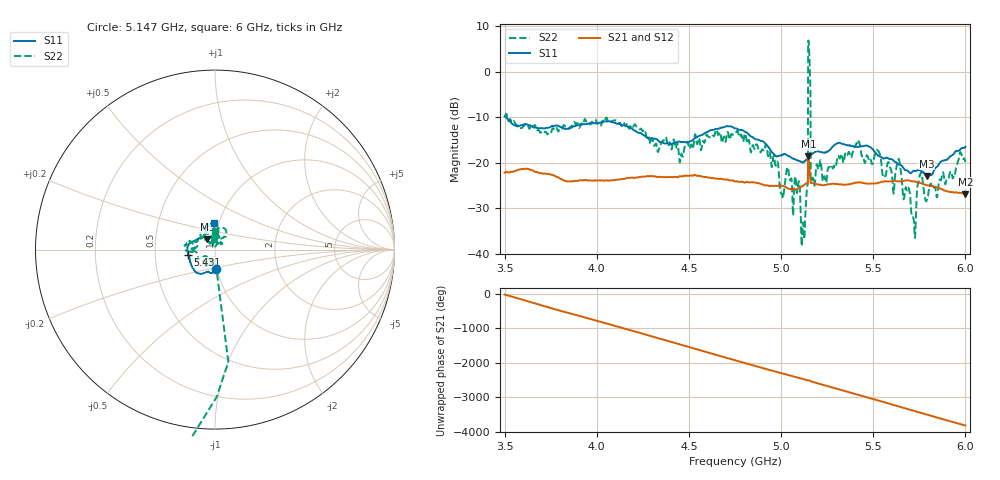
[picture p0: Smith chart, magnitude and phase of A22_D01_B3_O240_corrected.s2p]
! Created with skrf 1.9.0 (http://scikit-rf.org).
# Hz S RI R 50.0
!freq ReS11 ImS11 ReS21 ImS21 ReS12 ImS12 ReS22 ImS22
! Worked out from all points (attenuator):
!   1601 points, 3.5 GHz to 6 GHz, reference 50 ohm
!   highest |S21| = -18.58 dB at 5.148 GHz (marker M1); lowest = -26.9 dB at 6 GHz (marker M2)
!   lowest |S11| = -22.9 dB at 5.791 GHz (marker M3), VSWR 1.15, Z = 45.7 + j5.26 ohm
!   |S11| at or under -10 dB: 3.506 GHz to end of sweep
!   |S22| runs from -38.4 to 6.9 dB; largest |S21 - S12| = 0.0012
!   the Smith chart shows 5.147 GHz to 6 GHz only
!   S11 on the Smith chart (normalised r, x): 5.147 GHz: 0.99, -0.22; 5.431 GHz: 0.74, -0.04; 6 GHz: 0.94, +0.29
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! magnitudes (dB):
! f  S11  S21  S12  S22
! 3.5 GHz  -9.8  -22.2  -22.2  -9.9
! 3.917 GHz  -11.7  -23.9  -23.9  -11.4
! 4.334 GHz  -15.2  -23.2  -23.1  -17.5
! 4.75 GHz  -12.5  -24.1  -24.1  -13.4
! 4.927 GHz  -16.3  -25.0  -25.0  -17.9
! 5.005 GHz  -18.3  -25.1  -25.1  -26.9
! 5.088 GHz  -19.5  -25.8  -25.8  -26.6
! 5.119 GHz  -19.9  -25.1  -25.0  -33.1
! 5.133 GHz  -19.5  -24.6  -24.6  -30.5
! 5.147 GHz  -19.1  -18.7  -18.7  6.5
! 5.148 GHz  -19.0  -18.6  -18.6  6.9
! 5.159 GHz  -18.4  -23.7  -23.6  -4.0
! 5.167 GHz  -18.1  -24.5  -24.5  -23.7
! 5.173 GHz  -17.9  -24.5  -24.5  -23.4
! 5.236 GHz  -17.8  -24.9  -24.9  -23.0
! 5.431 GHz  -16.4  -24.3  -24.3  -17.0
! 5.584 GHz  -19.2  -24.1  -24.1  -20.0
! 5.641 GHz  -20.4  -24.2  -24.1  -19.4
! 5.719 GHz  -21.8  -24.1  -24.1  -32.3
! 5.753 GHz  -21.7  -24.4  -24.4  -22.8
! 5.791 GHz  -22.9  -25.0  -24.9  -28.1
! 6 GHz  -16.5  -26.9  -26.8  -19.9
